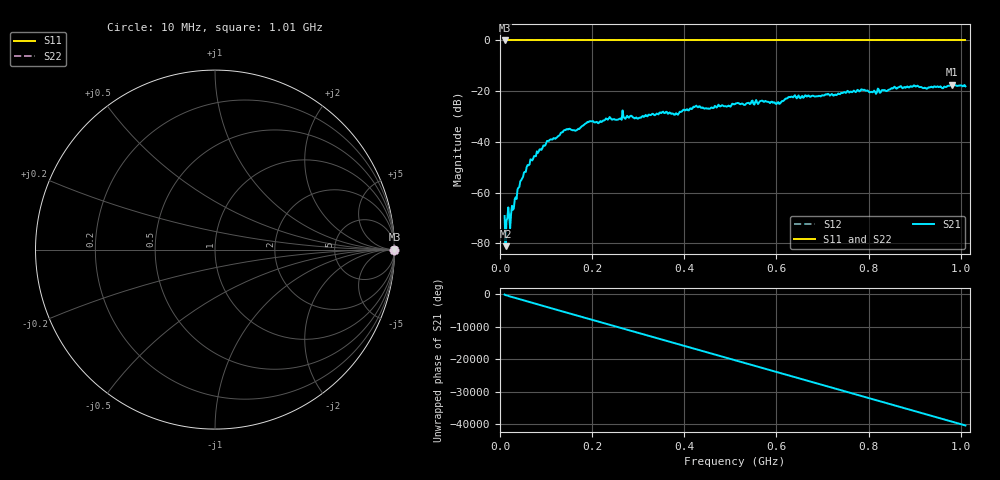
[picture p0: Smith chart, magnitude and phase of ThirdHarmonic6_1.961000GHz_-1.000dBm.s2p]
! 8/16/2025 11:36:16 PM
! C:\ANRITSUVNA\TEMP\TEMP.S2P
! CHANNEL.1
! TR.MEASUREMENT
! RAW.DATA
! RF.CORRECTION.OFF
! AVERAGING.OFF
! IF.BANDWIDTH: 5KHZ
! SWEEPTYPE:  FREQ.SWEEP(Linear)
! Reference Plane Port Info
! PORT:  PORT1  PORT2
! DISTANCE:  0  m  0  m
! TIME:  0  s  0  s
! PHASE.OFFSET:  0  deg.  0  deg.
! LOSS:  0  dB  0  dB
! REF.LOSS:  0  dB  0  dB
! REF.FREQ:  0  Hz  0  Hz
! Power Info
! POWER:  -20  dBm  -20  dBm
! EFF.POWER:  -20  dBm  -20  dBm
! SOURCE.ATTEN:  0  dB  0  dB
! TEST.ATTEN:  0  dB  0  dB
# GHZ S RI R 50.0
! FREQ.GHZ  S11RE  S11IM  S21RE  S21IM  S12RE  S12IM  S22RE  S22IM
!; PortSelection: Port_12
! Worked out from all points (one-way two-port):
!   501 points, 10 MHz to 1.01 GHz, reference 50 ohm
!   highest |S21| = -17.47 dB at 980 MHz (marker M1); lowest = -81.1 dB at 12 MHz (marker M2)
!   lowest |S11| = 0.0 dB at 10 MHz (marker M3)
!   |S11| at or under -10 dB: nowhere
!   |S22| runs from 0.0 to 0.0 dB; largest |S21 - S12| = 1.1
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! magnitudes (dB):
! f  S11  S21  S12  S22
! 10 MHz  0.0  -69.2  0.0  0.0
! 12 MHz  0.0  -81.1  0.0  0.0
! 26 MHz  0.0  -65.2  0.0  0.0
! 42 MHz  0.0  -57.7  0.0  0.0
! 70 MHz  0.0  -47.3  0.0  0.0
! 106 MHz  0.0  -39.6  0.0  0.0
! 142 MHz  0.0  -35.4  0.0  0.0
! 164 MHz  0.0  -35.6  0.0  0.0
! 178 MHz  0.0  -33.8  0.0  0.0
! 198 MHz  0.0  -31.9  0.0  0.0
! 302 MHz  0.0  -30.5  0.0  0.0
! 344 MHz  0.0  -29.2  0.0  0.0
! 382 MHz  0.0  -28.7  0.0  0.0
! 424 MHz  0.0  -26.0  0.0  0.0
! 452 MHz  0.0  -26.8  0.0  0.0
! 510 MHz  0.0  -25.1  0.0  0.0
! 604 MHz  0.0  -24.3  0.0  0.0
! 630 MHz  0.0  -22.4  0.0  0.0
! 678 MHz  0.0  -21.8  0.0  0.0
! 844 MHz  0.0  -19.4  0.0  0.0
! 980 MHz  0.0  -17.5  0.0  0.0
! 1.01 GHz  0.0  -18.1  0.0  0.0
